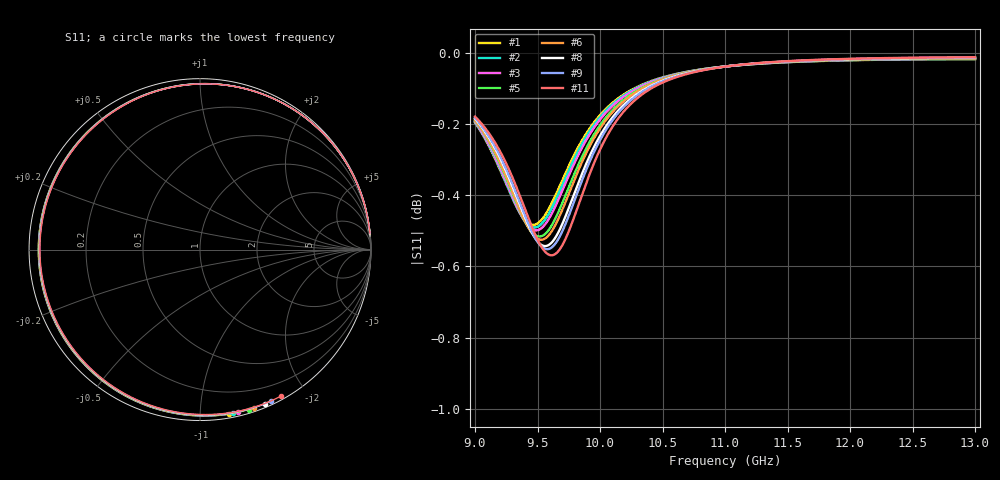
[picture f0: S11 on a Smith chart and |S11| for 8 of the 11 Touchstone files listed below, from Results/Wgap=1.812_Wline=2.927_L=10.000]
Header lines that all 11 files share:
! TOUCHSTONE file generated by CST DESIGN STUDIO
! Project name: C:\Work\MatlabApps\UnitCellOptimizationMatlab\CST\unitcell.cst
! Tree item: Tasks\Sweep1\SPara1\S-Parameters
! Header version: 2024
! Port assignment regex: !\s*Touchstone port\s*([0-9]+)\s*=\s*(CST MWS port|CST DES external port|CST DES block port)\s*(.+)\s* \(\"(.*)\"\)(\s*mode\s*([0-9]+))?.*
! Touchstone port assignment:
! Touchstone port 1 = CST DES external port 1 ("")
# GHz S MA R 50
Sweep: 9 GHz to 13 GHz
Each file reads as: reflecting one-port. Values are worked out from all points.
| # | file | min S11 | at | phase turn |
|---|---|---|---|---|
| 1 | DS_for_MWS-run-0001.s1p | -0.5 dB | 9.465 GHz | -275 deg |
| 2 | DS_for_MWS-run-0002.s1p | -0.5 dB | 9.476 GHz | -277 deg |
| 3 | DS_for_MWS-run-0003.s1p | -0.5 dB | 9.488 GHz | -278 deg |
| 4 | DS_for_MWS-run-0004.s1p | -0.5 dB | 9.501 GHz | -280 deg |
| 5 | DS_for_MWS-run-0005.s1p | -0.5 dB | 9.515 GHz | -282 deg |
| 6 | DS_for_MWS-run-0006.s1p | -0.5 dB | 9.53 GHz | -284 deg |
| 7 | DS_for_MWS-run-0007.s1p | -0.5 dB | 9.545 GHz | -286 deg |
| 8 | DS_for_MWS-run-0008.s1p | -0.5 dB | 9.561 GHz | -288 deg |
| 9 | DS_for_MWS-run-0009.s1p | -0.6 dB | 9.577 GHz | -290 deg |
| 10 | DS_for_MWS-run-0010.s1p | -0.6 dB | 9.594 GHz | -292 deg |
| 11 | DS_for_MWS-run-0011.s1p | -0.6 dB | 9.612 GHz | -294 deg |
